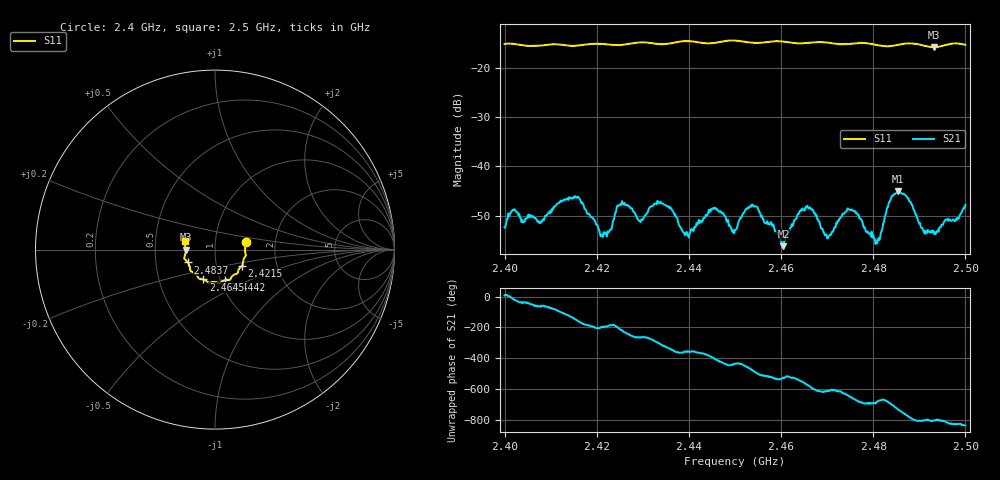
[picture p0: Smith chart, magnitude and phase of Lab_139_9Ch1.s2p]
# Hz S RI R
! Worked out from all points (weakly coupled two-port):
!   601 points, 2.4 GHz to 2.5 GHz, reference 50 ohm
!   highest |S21| = -45.09 dB at 2.4853 GHz (marker M1); lowest = -56.2 dB at 2.4605 GHz (marker M2)
!   lowest |S11| = -15.7 dB at 2.4932 GHz (marker M3), VSWR 1.39, Z = 36 - j0.0599 ohm
!   |S11| at or under -10 dB: start of sweep to end of sweep
!   S12 and S22 are empty: the file has one direction only
!   S11 on the Smith chart (normalised r, x): 2.4 GHz: 1.41, +0.12; 2.4215 GHz: 1.33, -0.25; 2.4442 GHz: 1.05, -0.37; 2.4645 GHz: 0.83, -0.29; 2.4837 GHz: 0.73, -0.11; 2.5 GHz: 0.71, +0.07
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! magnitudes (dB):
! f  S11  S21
! 2.4 GHz  -15.1  -52.4
! 2.4018 GHz  -15.1  -48.8
! 2.4167 GHz  -15.3  -47.5
! 2.4215 GHz  -15.1  -53.4
! 2.425 GHz  -15.3  -47.9
! 2.4295 GHz  -14.8  -51.3
! 2.4333 GHz  -15.1  -47.2
! 2.4395 GHz  -14.5  -53.3
! 2.4442 GHz  -15.0  -49.5
! 2.45 GHz  -14.4  -53.0
! 2.4542 GHz  -14.9  -48.1
! 2.4605 GHz  -14.6  -56.2
! 2.4645 GHz  -15.0  -49.0
! 2.4667 GHz  -14.8  -48.8
! 2.4698 GHz  -14.8  -53.8
! 2.4748 GHz  -15.1  -48.8
! 2.4808 GHz  -15.3  -55.7
! 2.4833 GHz  -15.6  -47.6
! 2.4837 GHz  -15.5  -47.0
! 2.4853 GHz  -15.3  -45.1
! 2.4932 GHz  -15.7  -53.7
! 2.5 GHz  -15.3  -47.8
